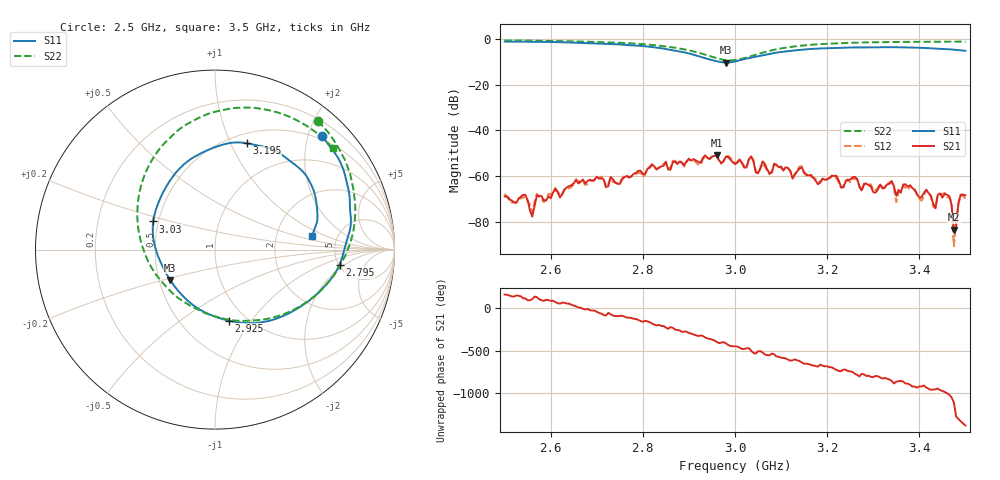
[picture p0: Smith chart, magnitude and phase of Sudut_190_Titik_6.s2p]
# Hz S RI R 50
! CMT, C1220, 16058040, 17.2.0/1
! Date: 15/08/2018 10:18:04
! Data: Format (Calibration Info)
! Freq  S11: Re/Im (F2)  S21: Re/Im (F2)  S12: Re/Im (F2)  S22: Re/Im (F2)
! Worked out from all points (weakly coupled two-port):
!   201 points, 2.5 GHz to 3.5 GHz, reference 50 ohm
!   highest |S21| = -50.86 dB at 2.96 GHz (marker M1); lowest = -83.4 dB at 3.475 GHz (marker M2)
!   lowest |S11| = -10.4 dB at 2.98 GHz (marker M3), VSWR 1.86, Z = 28.6 - j10.6 ohm
!   |S11| at or under -10 dB: 2.964 GHz to 2.998 GHz (34.15 MHz wide, 1.15 % of centre)
!   |S22| runs from -9.4 to -0.7 dB; largest |S21 - S12| = 0.00027
!   S11 on the Smith chart (normalised r, x): 2.5 GHz: 0.43, +2.24; 2.795 GHz: 5.06, -1.69; 2.925 GHz: 0.83, -0.79; 3.03 GHz: 0.47, +0.17; 3.195 GHz: 0.60, +1.15; 3.5 GHz: 3.23, +0.71
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2.5e9  0.5942 0.6344  -0.000343 0.000112  -0.000397 8.26e-05  0.5734 0.7164
2.545e9  0.6419 0.5708  -0.000169 0.000351  -0.000141 0.00032  0.6239 0.6612
2.56e9  0.6583 0.5509  -3.9e-05 0.000125  -9.35e-05 0.00013  0.6399 0.6411
2.57e9  0.6705 0.534  -0.00025 0.000279  -0.000208 0.000353  0.6506 0.6257
2.67e9  0.7466 0.3193  0.00084 -8.94e-05  0.00079 -0.000106  0.7447 0.4437
2.795e9  0.6938 -0.0852  -0.00114 -0.000654  -0.000994 -0.00061  0.7648 0.0779
2.835e9  0.5882 -0.228  -0.00146 0.00043  -0.00147 0.0004  0.7024 -0.0784
2.925e9  0.0768 -0.3962  0.00153 0.00123  0.0013 0.00114  0.289 -0.3865
2.96e9  -0.1523 -0.2843  0.00235 -0.00164  0.00252 -0.00159  0.0183 -0.3773
2.98e9  -0.2503 -0.1686  0.00163 -0.00211  0.00179 -0.002  -0.1354 -0.314
3e9  -0.3176 -0.0363  4.66e-05 -0.00183  -5.74e-05 -0.00192  -0.2714 -0.2072
3.03e9  -0.3441 0.157  -0.000809 -0.00215  -0.0009 -0.00209  -0.4023 0.0108
3.17e9  0.0975 0.5957  0.000668 0.000624  0.000675 0.00063  -0.0747 0.7412
3.195e9  0.1765 0.5925  0.000678 0.000484  0.000709 0.000449  0.0186 0.772
3.335e9  0.4935 0.4306  -0.000341 -0.000587  -0.000383 -0.000617  0.4088 0.7427
3.35e9  0.5128 0.4046  -0.000303 -0.000216  -0.00025 -0.000108  0.4379 0.7297
3.365e9  0.5284 0.3757  -0.000535 -0.000381  -0.000523 -0.000328  0.4665 0.7145
3.435e9  0.569 0.2229  -0.000115 0.000164  -0.00011 0.000167  0.5778 0.6413
3.455e9  0.5706 0.178  -1.95e-05 0.000405  -5.15e-05 0.000428  0.6038 0.6185
3.475e9  0.5619 0.1337  5.81e-05 -3.49e-05  1.31e-05 -2.65e-05  0.6272 0.5951
3.49e9  0.5493 0.1001  -0.00011 0.00038  -5.49e-05 0.000387  0.645 0.5761
3.5e9  0.5398 0.0774  0.000201 0.000325  0.000192 0.000265  0.656 0.5646
